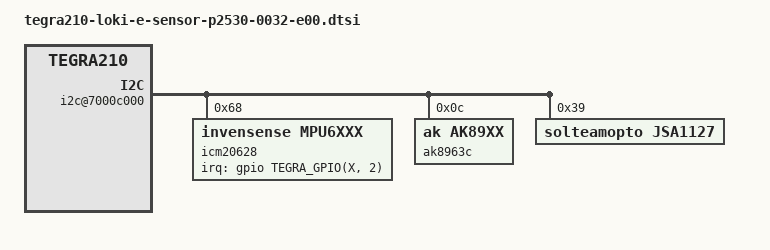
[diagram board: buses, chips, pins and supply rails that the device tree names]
/*
 * Copyright (c) 2015, NVIDIA CORPORATION.  All rights reserved.
 *
 * This program is free software; you can redistribute it and/or modify
 * it under the terms of the GNU General Public License as published by
 * the Free Software Foundation; either version 2 of the License, or
 * (at your option) any later version.
 *
 * This program is distributed in the hope that it will be useful, but WITHOUT
 * ANY WARRANTY; without even the implied warranty of MERCHANTABILITY or
 * FITNESS FOR A PARTICULAR PURPOSE.  See the GNU General Public License for
 * more details.
 *
 * You should have received a copy of the GNU General Public License along
 * with this program; if not, write to the Free Software Foundation, Inc.,
 * 51 Franklin Street, Fifth Floor, Boston, MA  02110-1301, USA.
 */

#include <dt-bindings/gpio/tegra-gpio.h>

/ {
	i2c@7000c000 {
		icm20628@68 {
			compatible = "invensense,mpu6xxx";
			reg = <0x68>;
			interrupt-parent = <&gpio>;
			interrupts = <TEGRA_GPIO(X, 2) 0x00>;
			accelerometer_matrix = [ff 00 00 00 01 00 00 00 ff];
			gyroscope_matrix = [ff 00 00 00 01 00 00 00 ff];
			gyroscope_delay_us_max = <100000>;
		};

		ak8963c@0c {
			compatible = "ak,ak89xx";
			reg = <0x0c>;
			magnetic_field_matrix = [01 00 00 00 ff 00 00 00 ff];
		};

		jsa1127@39 {
			compatible = "solteamopto,jsa1127";
			reg = <0x39>;
			light_hwm_maxrange_ival = <212000>;
			light_hwm_resolution_ival = <6>;
			light_hwm_resolution_fval = <610000>;
			light_hyb_maxrange_ival = <63>;
			light_hyb_maxrange_fval = <0>;
			light_hyb_resolution_ival = <6>;
			light_hyb_resolution_fval = <850000>;
			light_hyb_interval = <5000>;
		};
	};

};
